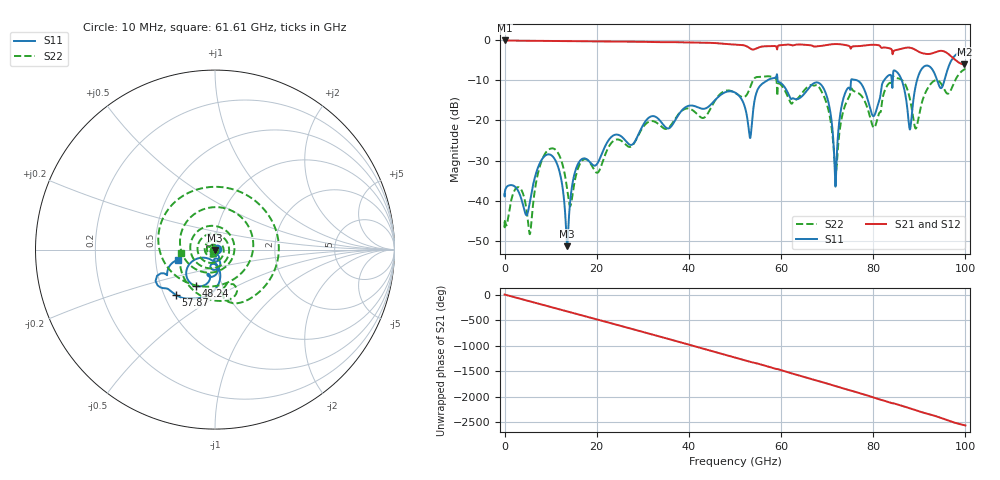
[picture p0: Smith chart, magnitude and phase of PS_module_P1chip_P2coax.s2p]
! Touchstone file from project PS_module
! Exported from ElectronicsDesktop 2018.1.0
# GHZ S DB R 50.000000
! Modal data exported
! Port[1] = Port1
! Port[2] = Port2
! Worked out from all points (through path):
!   10000 points, 10 MHz to 100 GHz, reference 50 ohm
!   highest |S21| = -0.03 dB at 10 MHz (marker M1); lowest = -6.0 dB at 99.77 GHz (marker M2)
!   group delay of S21, straight-line fit = 70.8 ps
!   lowest |S11| = -51.4 dB at 13.59 GHz (marker M3), VSWR 1.01, Z = 49.9 - j0.262 ohm
!   |S11| at or under -10 dB: start of sweep to 56.98 GHz; 59.24 GHz to 75.19 GHz (15.95 GHz wide, 23.7 % of centre); 76.53 GHz to 82.34 GHz (5.81 GHz wide, 7.31 % of centre) (the widest 3 of 6)
!   |S22| runs from -48.4 to -7.1 dB; largest |S21 - S12| = 0
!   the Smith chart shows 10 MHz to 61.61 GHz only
!   S11 on the Smith chart (normalised r, x): 10 MHz: 1.02, +0.00; 48.24 GHz: 0.75, -0.32; 57.87 GHz: 0.58, -0.33; 61.61 GHz: 0.65, -0.08
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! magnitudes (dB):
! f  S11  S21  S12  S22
! 10 MHz  -38.4  0.0  0.0  -45.3
! 3 GHz  -37.7  -0.1  -0.1  -36.6
! 5.52 GHz  -40.1  -0.1  -0.1  -48.3
! 10.06 GHz  -28.6  -0.2  -0.2  -27.0
! 13.59 GHz  -51.4  -0.2  -0.2  -37.2
! 16.68 GHz  -29.7  -0.2  -0.2  -30.2
! 33.34 GHz  -19.6  -0.4  -0.4  -20.8
! 48.24 GHz  -12.8  -0.9  -0.9  -12.5
! 50.01 GHz  -13.0  -1.1  -1.1  -13.1
! 53.25 GHz  -24.3  -2.0  -2.0  -11.9
! 57.87 GHz  -9.5  -1.4  -1.4  -9.1
! 61.61 GHz  -13.4  -1.1  -1.1  -14.4
! 66.67 GHz  -11.1  -1.3  -1.3  -11.1
! 69.89 GHz  -13.8  -1.2  -1.2  -15.8
! 71.81 GHz  -36.5  -0.9  -0.9  -33.1
! 75.59 GHz  -9.8  -1.5  -1.5  -12.5
! 80.18 GHz  -18.8  -1.1  -1.1  -21.8
! 83.34 GHz  -8.7  -1.9  -1.9  -10.8
! 87.97 GHz  -22.2  -1.8  -1.8  -14.7
! 90.62 GHz  -7.0  -3.2  -3.2  -15.3
! 99.77 GHz  -2.9  -6.0  -6.0  -7.3
! 100 GHz  -2.9  -6.0  -6.0  -7.1
